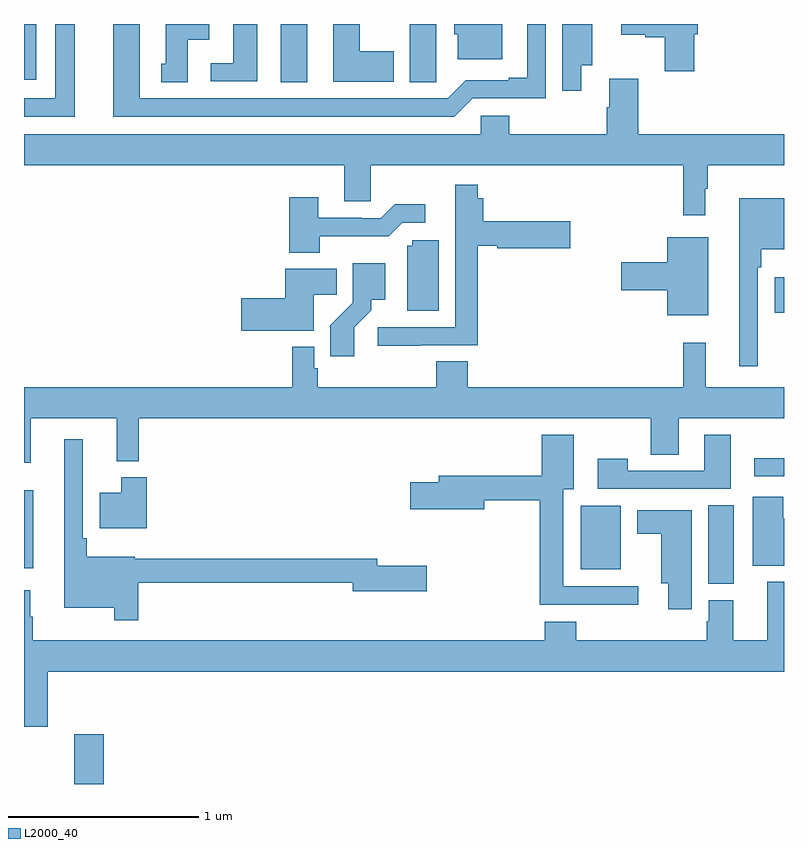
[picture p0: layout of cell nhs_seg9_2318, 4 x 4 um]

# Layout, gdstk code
import gdstk
lib = gdstk.Library(unit=1e-6, precision=1e-09)
def R(c, l, rs):  # rectangles x0, y0, x1, y1
    for r in rs: c.add(gdstk.rectangle(r[:2], r[2:], *l))
def P(c, l, *ps):  # polygons
    for p in ps: c.add(gdstk.Polygon(p, *l))
L2000_40 = (2000, 40)

nhs_seg9_2318 = lib.new_cell('nhs_seg9_2318')
R(nhs_seg9_2318, L2000_40, [(243.265,1190.5,243.419,1190.761), (246.602,1191.553,246.736,1191.968), (245.93,1191.629,246.142,1191.964), (243,1191.635,243.049,1192.045), (246.843,1192.119,247,1192.215), (246.95,1192.979,247,1193.167), (244.352,1194.193,244.492,1194.5), (243,1194.207,243.064,1194.5)])
P(nhs_seg9_2318, L2000_40, [(245.169,1194.304),(245.17,1194.304),(245.17,1194.5),(245.03,1194.5),(245.03,1194.193),(245.169,1194.193)],
  [(243.268,1194.5),(243.164,1194.5),(243.164,1194.108),(243,1194.108),(243,1194.012),(243.268,1194.012)],
  [(245.932,1194.284),(245.992,1194.284),(245.992,1194.5),(245.833,1194.5),(245.833,1194.388),(245.834,1194.388),(245.834,1194.15),(245.932,1194.15)],
  [(243.862,1194.416),(243.976,1194.416),(243.976,1194.5),(243.746,1194.5),(243.746,1194.291),(243.722,1194.291),(243.722,1194.193),(243.862,1194.193)],
  [(245.361,1194.108),(245.745,1194.108),(245.745,1194.5),(245.648,1194.5),(245.648,1194.217),(245.552,1194.217),(245.552,1194.204),(245.325,1194.204),(245.229,1194.108),(243.61,1194.108),(243.61,1194.5),(243.47,1194.5),(243.47,1194.012),(245.265,1194.012)],
  [(246.527,1194.447),(246.545,1194.447),(246.545,1194.5),(246.144,1194.5),(246.144,1194.443),(246.27,1194.443),(246.27,1194.431),(246.373,1194.431),(246.373,1194.252),(246.527,1194.252)],
  [(244.945,1194.357),(244.768,1194.357),(244.768,1194.5),(244.628,1194.5),(244.628,1194.197),(244.945,1194.197)],
  [(244.228,1194.5),(244.1,1194.5),(244.1,1194.294),(243.984,1194.294),(243.984,1194.198),(244.228,1194.198)],
  [(245.518,1194.5),(245.264,1194.5),(245.264,1194.447),(245.282,1194.447),(245.282,1194.314),(245.518,1194.314)],
  [(246.586,1193.633),(246.598,1193.633),(246.598,1193.756),(247,1193.756),(247,1193.92),(246.233,1193.92),(246.233,1194.211),(246.08,1194.211),(246.08,1194.062),(246.068,1194.062),(246.068,1193.92),(245.555,1193.92),(245.555,1194.018),(245.403,1194.018),(245.403,1193.92),(243,1193.92),(243,1193.756),(244.685,1193.756),(244.685,1193.566),(244.824,1193.566),(244.824,1193.756),(246.469,1193.756),(246.469,1193.493),(246.586,1193.493)],
  [(245.087,1192.809),(245.387,1192.809),(245.387,1193.333),(245.49,1193.333),(245.49,1193.321),(245.875,1193.321),(245.875,1193.463),(245.417,1193.463),(245.417,1193.584),(245.387,1193.584),(245.387,1193.653),(245.271,1193.653),(245.271,1192.905),(244.863,1192.905),(244.863,1192.807),(245.087,1192.807)],
  [(244.557,1193.384),(244.921,1193.384),(244.992,1193.454),(245.113,1193.454),(245.113,1193.551),(244.951,1193.551),(244.878,1193.478),(244.778,1193.478),(244.778,1193.481),(244.549,1193.481),(244.549,1193.587),(244.397,1193.587),(244.397,1193.297),(244.557,1193.297)],
  [(246.861,1193.219),(246.881,1193.219),(246.881,1193.315),(247,1193.315),(247,1193.584),(246.764,1193.584),(246.764,1192.698),(246.861,1192.698)],
  [(246.601,1193.377),(246.386,1193.377),(246.386,1193.246),(246.144,1193.246),(246.144,1193.099),(246.386,1193.099),(246.386,1192.967),(246.601,1192.967)],
  [(245.182,1193.361),(245.043,1193.361),(245.043,1193.334),(245.018,1193.334),(245.018,1192.99),(245.182,1192.99)],
  [(244.738,1192.903),(244.828,1192.993),(244.828,1193.048),(244.9,1193.048),(244.9,1193.242),(244.731,1193.242),(244.731,1193.033),(244.612,1192.914),(244.612,1192.752),(244.738,1192.752)],
  [(244.525,1193.074),(244.646,1193.074),(244.646,1193.212),(244.376,1193.212),(244.376,1193.057),(244.143,1193.057),(244.143,1192.886),(244.525,1192.886)],
  [(243.035,1192.424),(243.488,1192.424),(243.488,1192.199),(243.605,1192.199),(243.605,1192.424),(246.298,1192.424),(246.298,1192.234),(246.445,1192.234),(246.445,1192.424),(247,1192.424),(247,1192.588),(246.587,1192.588),(246.587,1192.822),(246.469,1192.822),(246.469,1192.588),(245.336,1192.588),(245.336,1192.724),(245.171,1192.724),(245.171,1192.588),(244.547,1192.588),(244.547,1192.689),(244.527,1192.689),(244.527,1192.801),(244.411,1192.801),(244.411,1192.588),(243,1192.588),(243,1192.191),(243.035,1192.191)],
  [(246.721,1192.339),(246.581,1192.339),(246.581,1192.149),(246.177,1192.149),(246.177,1192.213),(246.021,1192.213),(246.021,1192.053),(246.721,1192.053)],
  [(246.232,1191.54),(245.839,1191.54),(245.839,1192.052),(245.893,1192.052),(245.893,1192.339),(245.726,1192.339),(245.726,1192.123),(245.183,1192.123),(245.183,1192.089),(245.034,1192.089),(245.034,1191.947),(245.422,1191.947),(245.422,1191.994),(245.714,1191.994),(245.714,1191.443),(246.232,1191.443)],
  [(243.602,1191.558),(244.73,1191.558),(244.73,1191.515),(245.119,1191.515),(245.119,1191.65),(244.858,1191.65),(244.858,1191.686),(243.583,1191.686),(243.583,1191.697),(243.329,1191.697),(243.329,1191.793),(243.309,1191.793),(243.309,1192.315),(243.212,1192.315),(243.212,1191.428),(243.474,1191.428),(243.474,1191.363),(243.602,1191.363)],
  [(243.647,1192.114),(243.512,1192.114),(243.512,1192.033),(243.398,1192.033),(243.398,1191.845),(243.647,1191.845)],
  [(247,1191.898),(246.997,1191.898),(246.997,1192.012),(246.836,1192.012),(246.836,1191.65),(247,1191.65)],
  [(246.514,1191.94),(246.227,1191.94),(246.227,1191.818),(246.353,1191.818),(246.353,1191.557),(246.392,1191.557),(246.392,1191.42),(246.514,1191.42)],
  [(243.125,1191.092),(247,1191.092),(247,1191.565),(246.911,1191.565),(246.911,1191.256),(246.733,1191.256),(246.733,1191.468),(246.605,1191.468),(246.605,1191.357),(246.593,1191.357),(246.593,1191.256),(245.906,1191.256),(245.906,1191.355),(245.741,1191.355),(245.741,1191.256),(243.046,1191.256),(243.046,1191.38),(243.034,1191.38),(243.034,1191.52),(243,1191.52),(243,1190.802),(243.125,1190.802)])

lib.write_gds('nhs_seg9_2318.gds')
